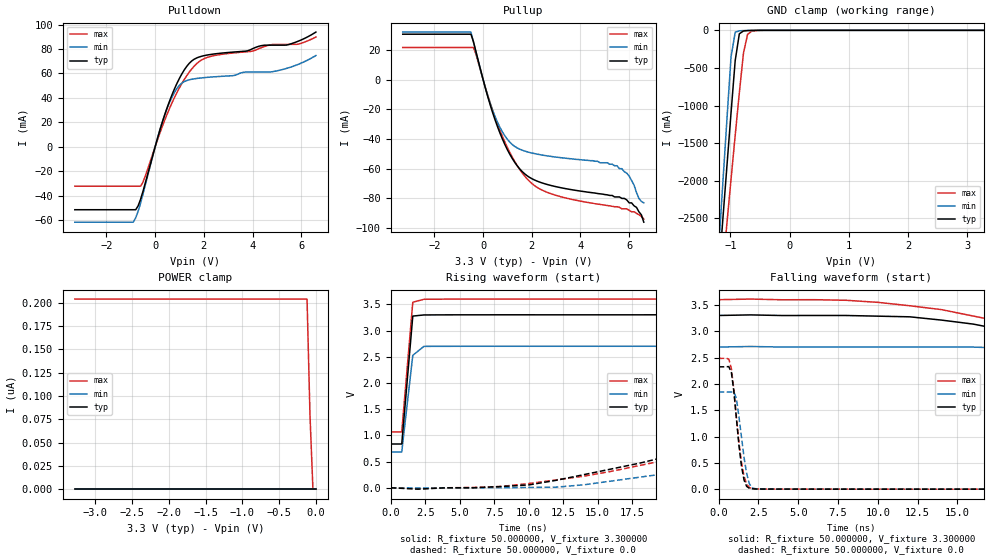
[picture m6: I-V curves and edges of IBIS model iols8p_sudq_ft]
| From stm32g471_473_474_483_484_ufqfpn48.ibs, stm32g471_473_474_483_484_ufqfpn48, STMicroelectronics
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|   Model iols8p_sudq_ft
[Model]  iols8p_sudq_ft
Model_type I/O
Polarity   Non-Inverting
Enable   Active-Low
Vinl =   0.990000V
Vinh =   2.310000V
Vmeas =  1.650000V
Cref =   50.000000pF
Rref =   100.000000M
Vref =   0.0V
C_comp   2.036400pF   1.984000pF   2.082300pF
[Temperature Range]   25.000000   -40.000000   0.125000k
[Pullup Reference]   3.300000V   2.700000V   3.600000V
[Pulldown Reference]   0.0V   0.0V   0.0V
[POWER Clamp Reference]   3.300000V   2.700000V   3.600000V
[GND Clamp Reference]   0.0V   0.0V   0.0V
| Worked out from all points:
|   slope of the pulldown table from 0 to 0.495 V, typ, clamps not added: 15.4 ohm
|   slope of the pullup table from 0 to 0.495 V, typ, clamps not added: 18.1 ohm
|   GND clamp passes 1 mA (typ) near -0.60 V on its own axis
|   rising waveform, R_fixture 50.000000, V_fixture 3.300000: 20-80 % time 485ps typ, 526ps min, 493ps max; typ from 0.835 V to 3.3 V
|   rising waveform, R_fixture 50.000000, V_fixture 0.0: 20-80 % time 24.3ns typ, 26.2ns min, 30.7ns max; typ from 0 V to 2.33 V
|   falling waveform, R_fixture 50.000000, V_fixture 3.300000: 20-80 % time 21.2ns typ, 25.3ns min, 23.8ns max; typ from 3.3 V to 0.835 V
|   falling waveform, R_fixture 50.000000, V_fixture 0.0: 20-80 % time 470ps typ, 493ps min, 524ps max; typ from 2.33 V to 0 V
[Pulldown]
|Voltage   I(typ)   I(min)   I(max)
-3.3V     -51.63mA   -61.84mA   -32.32mA
-900mV    -51.63mA   -61.84mA   -32.32mA
-800mV    -51.63mA   -58.24mA   -32.32mA
-500mV    -36.51mA   -38.71mA   -28.96mA
400mV     26.66mA    26.58mA    22.18mA
800mV     47.72mA    44.74mA    40.6mA
1.1V      59.79mA    52.18mA    51.93mA
1.5V      70.22mA    55.24mA    63.66mA
2.1V      74.97mA    56.75mA    72.88mA
4.9V      83.19mA    61.75mA    83.83mA
5.9V      86.64mA    67.67mA    84.15mA
6.6V      93.9mA     74.68mA    89.84mA
[Pullup]
|Voltage   I(typ)   I(min)   I(max)
-3.3V     30.51mA    31.92mA    21.54mA
-500mV    30.51mA    31.92mA    21.54mA
-300mV    19.24mA    18.93mA    17.46mA
500mV     -27.53mA   -25.31mA   -25.83mA
1V        -47.29mA   -40.29mA   -45.86mA
1.5V      -60.05mA   -46.83mA   -60.43mA
2V        -66.7mA    -49.43mA   -69.91mA
2.7V      -70.92mA   -51.53mA   -76.32mA
5.5V      -79mA      -58mA      -85.6mA
6V        -83mA      -65mA      -88mA
6.3V      -86mA      -76mA      -90mA
6.6V      -96mA      -83mA      -94mA
[GND_clamp]
|Voltage   I(typ)   I(min)   I(max)
-3.3V     -9.812A    -9.822A    -9.937A
-1.2V     -3.251A    -2.905A    -3.763A
-1.13V    -2.527A    -2.046A    -3.165A
-1.06V    -1.808A    -1.191A    -2.57A
-990mV    -1.097A    -352.6mA   -1.979A
-920mV    -404.2mA   -25.08mA   -1.398A
-850mV    -46.53mA   -6.503mA   -832.3mA
-780mV    -8.496mA   -3.578mA   -302.4mA
-710mV    -3.383mA   -1.716mA   -53.8mA
-640mV    -1.589mA   -553.8uA   -11.72mA
-360mV    -2.023uA   0A         -84.67uA
3.28V     0A         0A         0A
[POWER_clamp]
|Voltage   I(typ)   I(min)   I(max)
-3.28V    0A         0A         204.1nA
-120mV    0A         0A         204.1nA
-80mV     0A         0A         79.47nA
-40mV     0A         0A         0A
0V        0A         0A         0A
[Ramp]
| variable   typ   min   max
dV/dt_r  1.39458/24.30631n   1.10718/26.01052n   1.49064/30.64439n
dV/dt_f  1.47898/21.10039n   1.21001/25.29034n   1.52118/23.73506n
R_load = 50.000000
[Rising Waveform]
R_fixture= 50.000000
V_fixture= 3.300000
V_fixture_min= 2.700000
V_fixture_max= 3.600000
|time   V(typ)   V(min)   V(max)
0s        835mV      683.3mV    1.065V
800.8ps   835mV      682.8mV    1.066V
1.602ns   3.275V     2.526V     3.539V
2.402ns   3.297V     2.697V     3.596V
79.28ns   3.3V       2.7V       3.6V
[Rising Waveform]
R_fixture= 50.000000
V_fixture= 0.0
V_fixture_min= 0.0
V_fixture_max= 0.0
|time   V(typ)   V(min)   V(max)
0s        2.638nV    1.902nV    194.7nV
10.01ns   54.11mV    6.367mV    80.17mV
14.01ns   251.2mV    56.8mV     222.1mV
22.02ns   729.9mV    344.9mV    641.4mV
34.03ns   1.485V     930.1mV    1.306V
46.05ns   1.977V     1.4V       1.854V
58.06ns   2.168V     1.658V     2.171V
90.09ns   2.29V      1.815V     2.411V
196.2ns   2.326V     1.845V     2.486V
997ns     2.325V     1.845V     2.485V
[Falling Waveform]
R_fixture= 50.000000
V_fixture= 3.300000
V_fixture_min= 2.700000
V_fixture_max= 3.600000
|time   V(typ)   V(min)   V(max)
0s        3.3V       2.7V       3.6V
8.008ns   3.3V       2.7V       3.589V
16.02ns   3.136V     2.699V     3.288V
24.02ns   2.582V     2.575V     2.744V
36.04ns   1.686V     2.036V     1.931V
46.05ns   1.182V     1.509V     1.459V
60.06ns   976.9mV    965.9mV    1.242V
82.08ns   893mV      778.9mV    1.135V
188.2ns   836mV      683.7mV    1.067V
997ns     835mV      683.3mV    1.065V
[Falling Waveform]
R_fixture= 50.000000
V_fixture= 0.0
V_fixture_min= 0.0
V_fixture_max= 0.0
|time   V(typ)   V(min)   V(max)
0s        2.325V     1.845V     2.485V
640.6ps   2.328V     1.845V     2.47V
800.8ps   2.22V      1.847V     2.295V
961ps     1.849V     1.847V     1.879V
1.121ns   1.334V     1.716V     1.353V
1.281ns   821.7mV    1.365V     873.6mV
1.602ns   169.7mV    594.7mV    244.4mV
1.922ns   18.59mV    109.1mV    33.22mV
2.242ns   4.856mV    12mV       7.295mV
79.76ns   2.638nV    1.902nV    194.7nV
